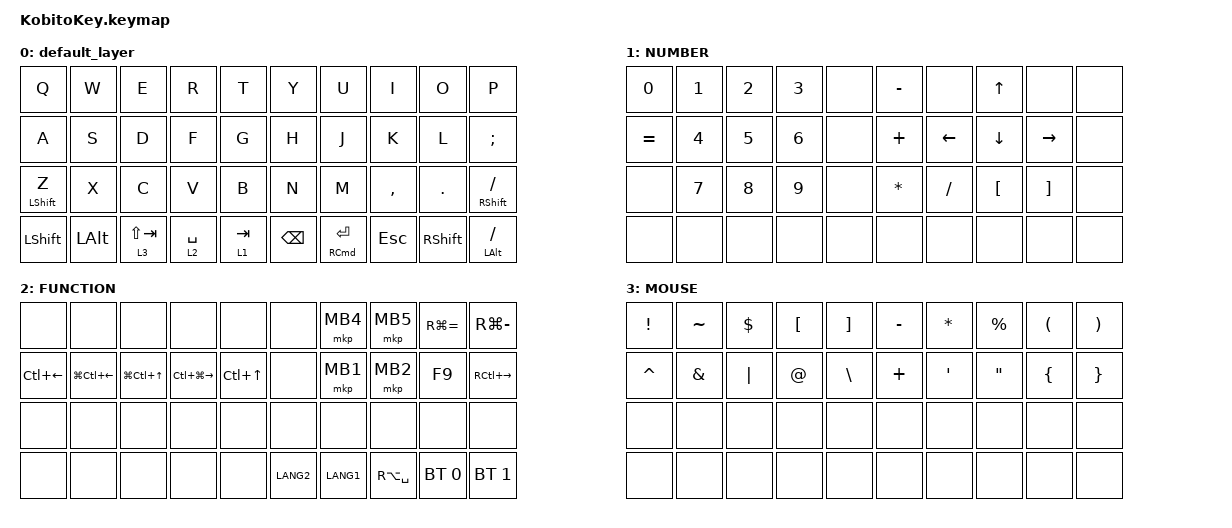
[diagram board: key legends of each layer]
#include <input/processors.dtsi>
#include <behaviors.dtsi>
#include <dt-bindings/zmk/bt.h>
#include <dt-bindings/zmk/keys.h>
#include <dt-bindings/zmk/pointing.h>

/ {
    combos {
        compatible = "zmk,combos";

        combo_eisu {
            timeout-ms = <50>;
            key-positions = <12 13>;
            bindings = <&kp LANG2>;
        };

        combo_kana {
            timeout-ms = <50>;
            key-positions = <16 17>;
            bindings = <&kp LANG1>;
        };

        combo_esc {
            timeout-ms = <50>;
            key-positions = <0 1>;
            bindings = <&kp ESC>;
        };

        combo_tab {
            timeout-ms = <50>;
            key-positions = <10 11>;
            bindings = <&kp TAB>;
        };
    };

    keymap {
        compatible = "zmk,keymap";

        default_layer {
            bindings = <
&kp Q         &kp W     &kp E          &kp R        &kp T      &kp Y          &kp U                    &kp I       &kp O      &kp P
&kp A         &kp S     &kp D          &kp F        &kp G      &kp H          &kp J                    &kp K       &kp L      &kp SEMI
&mt LSHIFT Z  &kp X     &kp C          &kp V        &kp B      &kp N          &kp M                    &kp COMMA   &kp DOT    &mt RSHIFT SLASH
&kp LSHFT     &kp LALT  &lt 3 LS(TAB)  &lt 2 SPACE  &lt 1 TAB  &kp BACKSPACE  &mt RIGHT_COMMAND ENTER  &kp ESCAPE  &kp RSHFT  &mt LALT SLASH
            >;
        };

        layer1 {
            label = "NUMBER";
            bindings = <
&kp N0     &kp N1  &kp N2  &kp N3  &none  &kp MINUS  &none      &kp UP    &none      &none
&kp EQUAL  &kp N4  &kp N5  &kp N6  &none  &kp PLUS   &kp LEFT   &kp DOWN  &kp RIGHT  &none
&none      &kp N7  &kp N8  &kp N9  &none  &kp ASTRK  &kp SLASH  &kp LBKT  &kp RBKT   &none
&none      &none   &none   &none   &none  &none      &none      &none     &none      &none
            >;
        };

        layer2 {
            label = "FUNCTION";
            bindings = <
&none         &none             &none           &none              &none       &none      &mkp MB4   &mkp MB5       &kp RG(EQUAL)  &kp RG(MINUS)
&kp LC(LEFT)  &kp LG(LC(LEFT))  &kp LG(LC(UP))  &kp LC(LG(RIGHT))  &kp LC(UP)  &none      &mkp MB1   &mkp MB2       &kp F9         &kp RC(RIGHT)
&none         &none             &none           &none              &none       &none      &none      &none          &none          &none
&none         &none             &none           &none              &none       &kp LANG2  &kp LANG1  &kp RA(SPACE)  &bt BT_SEL 0   &bt BT_SEL 1
            >;
        };

        layer3 {
            label = "MOUSE";
            bindings = <
&kp EXCLAMATION  &kp TILDE      &kp DOLLAR  &kp LEFT_BRACKET  &kp RIGHT_BRACKET  &kp MINUS  &kp ASTERISK      &kp PERCENT        &kp LEFT_PARENTHESIS  &kp RIGHT_PARENTHESIS
&kp CARET        &kp AMPERSAND  &kp PIPE    &kp AT_SIGN       &kp BACKSLASH      &kp PLUS   &kp SINGLE_QUOTE  &kp DOUBLE_QUOTES  &kp LEFT_BRACE        &kp RIGHT_BRACE
&none            &none          &none       &none             &none              &none      &none             &none              &none                 &none
&none            &none          &none       &none             &none              &none      &none             &none              &none                 &none
            >;
        };
    };
};
